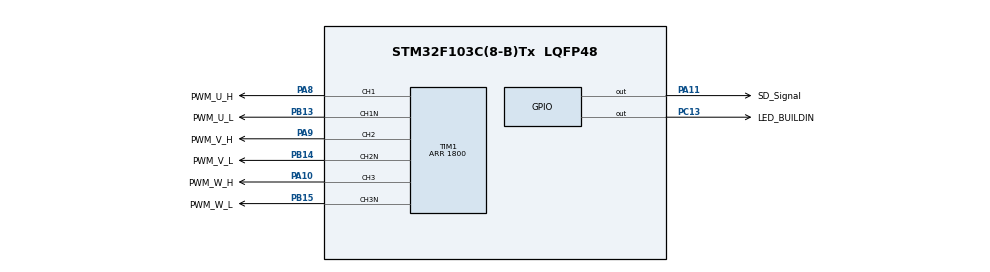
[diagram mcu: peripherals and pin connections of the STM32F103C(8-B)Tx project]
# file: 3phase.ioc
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Mcu.Family=STM32F1
Mcu.Name=STM32F103C(8-B)Tx
Mcu.Package=LQFP48
NVIC.PriorityGroup=NVIC_PRIORITYGROUP_4
NVIC.TIM1_UP_IRQn=true\:0\:0\:false\:false\:true\:true\:true\:true
PA10.GPIO_Label=PWM_W_H
PA10.GPIO_Speed=GPIO_SPEED_FREQ_HIGH
PA10.Signal=S_TIM1_CH3
PA11.GPIO_Label=SD_Signal
PA11.GPIO_Speed=GPIO_SPEED_FREQ_HIGH
PA11.Signal=GPIO_Output
PA13.Mode=Serial_Wire
PA13.Signal=SYS_JTMS-SWDIO
PA14.Mode=Serial_Wire
PA14.Signal=SYS_JTCK-SWCLK
PA8.GPIO_Label=PWM_U_H
PA8.GPIO_Speed=GPIO_SPEED_FREQ_HIGH
PA8.Signal=S_TIM1_CH1
PA9.GPIO_Label=PWM_V_H
PA9.GPIO_Speed=GPIO_SPEED_FREQ_HIGH
PA9.Signal=S_TIM1_CH2
PB13.GPIO_Label=PWM_U_L
PB13.GPIO_Speed=GPIO_SPEED_FREQ_HIGH
PB13.Mode=PWM Generation1 CH1 CH1N
PB13.Signal=TIM1_CH1N
PB14.GPIO_Label=PWM_V_L
PB14.GPIO_Speed=GPIO_SPEED_FREQ_HIGH
PB14.Mode=PWM Generation2 CH2 CH2N
PB14.Signal=TIM1_CH2N
PB15.GPIO_Label=PWM_W_L
PB15.GPIO_Speed=GPIO_SPEED_FREQ_HIGH
PB15.Mode=PWM Generation3 CH3 CH3N
PB15.Signal=TIM1_CH3N
PC13-TAMPER-RTC.GPIO_Label=LED_BUILDIN
PC13-TAMPER-RTC.PinState=GPIO_PIN_RESET
PC13-TAMPER-RTC.Signal=GPIO_Output
PD0-OSC_IN.Mode=HSE-External-Oscillator
PD0-OSC_IN.Signal=RCC_OSC_IN
PD1-OSC_OUT.Mode=HSE-External-Oscillator
PD1-OSC_OUT.Signal=RCC_OSC_OUT
ProjectManager.HeapSize=0x200
ProjectManager.StackSize=0x400
ProjectManager.TargetToolchain=STM32CubeIDE
RCC.AHBFreq_Value=72000000
RCC.APB1CLKDivider=RCC_HCLK_DIV2
RCC.APB1Freq_Value=36000000
RCC.APB1TimFreq_Value=72000000
RCC.APB2Freq_Value=72000000
RCC.APB2TimFreq_Value=72000000
RCC.HCLKFreq_Value=72000000
RCC.PLLMUL=RCC_PLL_MUL9
RCC.PLLSourceVirtual=RCC_PLLSOURCE_HSE
RCC.SYSCLKFreq_VALUE=72000000
RCC.SYSCLKSource=RCC_SYSCLKSOURCE_PLLCLK
RCC.USBFreq_Value=72000000
SH.S_TIM1_CH1.0=TIM1_CH1,PWM Generation1 CH1 CH1N
SH.S_TIM1_CH2.0=TIM1_CH2,PWM Generation2 CH2 CH2N
SH.S_TIM1_CH3.0=TIM1_CH3,PWM Generation3 CH3 CH3N
TIM1.AutoReloadPreload=TIM_AUTORELOAD_PRELOAD_ENABLE
TIM1.Channel-PWM\ Generation1\ CH1\ CH1N=TIM_CHANNEL_1
TIM1.Channel-PWM\ Generation2\ CH2\ CH2N=TIM_CHANNEL_2
TIM1.Channel-PWM\ Generation3\ CH3\ CH3N=TIM_CHANNEL_3
TIM1.CounterMode=TIM_COUNTERMODE_CENTERALIGNED1
TIM1.DeadTime=72
TIM1.Period=1800
TIM1.Pulse-PWM\ Generation1\ CH1\ CH1N=900
TIM1.Pulse-PWM\ Generation2\ CH2\ CH2N=900
TIM1.Pulse-PWM\ Generation3\ CH3\ CH3N=900
VP_TIM1_VS_ClockSourceINT.Mode=Internal
board=custom

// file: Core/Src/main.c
/* USER CODE BEGIN Header */

/**

******************************************************************************

* @file : main.c

* @brief : Main program body - SPWM 3 Phase (Chuẩn 20kHz Carrier / 50Hz Sine)

******************************************************************************

*/

/* USER CODE END Header */

#include "main.h"

/* USER CODE BEGIN Includes */

#include <math.h>

/* USER CODE END Includes */

TIM_HandleTypeDef htim1;

/* USER CODE BEGIN PV */

#define SINE_POINTS 400 // Số điểm băm (20kHz / 50Hz = 400)

#define ARR_VALUE 1800 // Period chuẩn để tạo ra 20kHz ở chế độ Center-Aligned (72MHz)

uint16_t sine_lookUp[SINE_POINTS];

uint16_t index_U = 0; // 0 độ

uint16_t index_V = 133; // 120 độ (~ 1/3 của 400)

uint16_t index_W = 266; // 240 độ (~ 2/3 của 400)

float modulation_index = 0.9; // Chỉ số điều chế (biên độ đỉnh, max = 1.0)

/* USER CODE END PV */

void SystemClock_Config(void);

static void MX_GPIO_Init(void);

static void MX_TIM1_Init(void);

int main(void)

{

HAL_Init();

SystemClock_Config();

MX_GPIO_Init();

MX_TIM1_Init();

/* USER CODE BEGIN 2 */

__HAL_TIM_SET_AUTORELOAD(&htim1, ARR_VALUE);

// tính mảng SPWM

for(int i = 0; i < SINE_POINTS; i++) {

float sin_val = (sin(2.0 * M_PI * i / SINE_POINTS) + 1.0) / 2.0;

sine_lookUp[i] = (uint16_t)(sin_val * ARR_VALUE * modulation_index); //a(0,1)*%pwm a

}

//Mở khóa Driver IR2110

HAL_GPIO_WritePin(SD_Signal_GPIO_Port, SD_Signal_Pin, GPIO_PIN_RESET);

// Kích hoạt xuất PWM cho cả 6 chân (Pha U, Pha V, Pha W)

HAL_TIM_PWM_Start(&htim1, TIM_CHANNEL_1);

HAL_TIMEx_PWMN_Start(&htim1, TIM_CHANNEL_1);

HAL_TIM_PWM_Start(&htim1, TIM_CHANNEL_2);

HAL_TIMEx_PWMN_Start(&htim1, TIM_CHANNEL_2);

HAL_TIM_PWM_Start(&htim1, TIM_CHANNEL_3);

HAL_TIMEx_PWMN_Start(&htim1, TIM_CHANNEL_3);

HAL_TIM_Base_Start_IT(&htim1);

/* USER CODE END 2 */

/* Infinite loop */

/* USER CODE BEGIN WHILE */

while (1)

{

//
HAL_GPIO_TogglePin(LED_BUILDIN_GPIO_Port, LED_BUILDIN_Pin);

HAL_Delay(2000);

/* USER CODE END WHILE */

}

}

void SystemClock_Config(void)

{

RCC_OscInitTypeDef RCC_OscInitStruct = {0};

RCC_ClkInitTypeDef RCC_ClkInitStruct = {0};

RCC_OscInitStruct.OscillatorType = RCC_OSCILLATORTYPE_HSE;

RCC_OscInitStruct.HSEState = RCC_HSE_ON;

RCC_OscInitStruct.HSEPredivValue = RCC_HSE_PREDIV_DIV1;

RCC_OscInitStruct.HSIState = RCC_HSI_ON;

RCC_OscInitStruct.PLL.PLLState = RCC_PLL_ON;

RCC_OscInitStruct.PLL.PLLSource = RCC_PLLSOURCE_HSE;

RCC_OscInitStruct.PLL.PLLMUL = RCC_PLL_MUL9;

if (HAL_RCC_OscConfig(&RCC_OscInitStruct) != HAL_OK)

{

Error_Handler();

}

RCC_ClkInitStruct.ClockType = RCC_CLOCKTYPE_HCLK|RCC_CLOCKTYPE_SYSCLK

|RCC_CLOCKTYPE_PCLK1|RCC_CLOCKTYPE_PCLK2;

RCC_ClkInitStruct.SYSCLKSource = RCC_SYSCLKSOURCE_PLLCLK;

RCC_ClkInitStruct.AHBCLKDivider = RCC_SYSCLK_DIV1;

RCC_ClkInitStruct.APB1CLKDivider = RCC_HCLK_DIV2;

RCC_ClkInitStruct.APB2CLKDivider = RCC_HCLK_DIV1;

if (HAL_RCC_ClockConfig(&RCC_ClkInitStruct, FLASH_LATENCY_2) != HAL_OK)

{

Error_Handler();

}

}

static void MX_TIM1_Init(void)

{

TIM_ClockConfigTypeDef sClockSourceConfig = {0};

TIM_MasterConfigTypeDef sMasterConfig = {0};

TIM_OC_InitTypeDef sConfigOC = {0};

TIM_BreakDeadTimeConfigTypeDef sBreakDeadTimeConfig = {0};

htim1.Instance = TIM1;

htim1.Init.Prescaler = 0;

htim1.Init.CounterMode = TIM_COUNTERMODE_CENTERALIGNED1;

htim1.Init.Period = 36000;

htim1.Init.ClockDivision = TIM_CLOCKDIVISION_DIV1;

htim1.Init.RepetitionCounter = 0;

htim1.Init.AutoReloadPreload = TIM_AUTORELOAD_PRELOAD_ENABLE;

if (HAL_TIM_Base_Init(&htim1) != HAL_OK)

	{

	Error_Handler();

	}

sClockSourceConfig.ClockSource = TIM_CLOCKSOURCE_INTERNAL;

if (HAL_TIM_ConfigClockSource(&htim1, &sClockSourceConfig) != HAL_OK)

	{

	Error_Handler();

	}

if (HAL_TIM_PWM_Init(&htim1) != HAL_OK)

	{

	Error_Handler();

	}

sMasterConfig.MasterOutputTrigger = TIM_TRGO_RESET;

sMasterConfig.MasterSlaveMode = TIM_MASTERSLAVEMODE_DISABLE;

if (HAL_TIMEx_MasterConfigSynchronization(&htim1, &sMasterConfig) != HAL_OK)

	{

	Error_Handler();

	}

sConfigOC.OCMode = TIM_OCMODE_PWM1;

sConfigOC.Pulse = 18000;

sConfigOC.OCPolarity = TIM_OCPOLARITY_HIGH;

sConfigOC.OCNPolarity = TIM_OCNPOLARITY_HIGH;

sConfigOC.OCFastMode = TIM_OCFAST_DISABLE;

sConfigOC.OCIdleState = TIM_OCIDLESTATE_RESET;

sConfigOC.OCNIdleState = TIM_OCNIDLESTATE_RESET;

if (HAL_TIM_PWM_ConfigChannel(&htim1, &sConfigOC, TIM_CHANNEL_1) != HAL_OK)

{

Error_Handler();

}

if (HAL_TIM_PWM_ConfigChannel(&htim1, &sConfigOC, TIM_CHANNEL_2) != HAL_OK)

{

Error_Handler();

}

if (HAL_TIM_PWM_ConfigChannel(&htim1, &sConfigOC, TIM_CHANNEL_3) != HAL_OK)

{

Error_Handler();

}

sBreakDeadTimeConfig.OffStateRunMode = TIM_OSSR_DISABLE;

sBreakDeadTimeConfig.OffStateIDLEMode = TIM_OSSI_DISABLE;

sBreakDeadTimeConfig.LockLevel = TIM_LOCKLEVEL_OFF;

sBreakDeadTimeConfig.DeadTime = 72;

sBreakDeadTimeConfig.BreakState = TIM_BREAK_DISABLE;

sBreakDeadTimeConfig.BreakPolarity = TIM_BREAKPOLARITY_HIGH;

sBreakDeadTimeConfig.AutomaticOutput = TIM_AUTOMATICOUTPUT_DISABLE;

if (HAL_TIMEx_ConfigBreakDeadTime(&htim1, &sBreakDeadTimeConfig) != HAL_OK)

{

Error_Handler();

}

HAL_TIM_MspPostInit(&htim1);

}

static void MX_GPIO_Init(void)

{

GPIO_InitTypeDef GPIO_InitStruct = {0};

/* GPIO Ports Clock Enable */

__HAL_RCC_GPIOC_CLK_ENABLE();

__HAL_RCC_GPIOD_CLK_ENABLE();

__HAL_RCC_GPIOB_CLK_ENABLE();

__HAL_RCC_GPIOA_CLK_ENABLE();

/*Configure GPIO pin Output Level */

HAL_GPIO_WritePin(LED_BUILDIN_GPIO_Port, LED_BUILDIN_Pin, GPIO_PIN_RESET);

HAL_GPIO_WritePin(SD_Signal_GPIO_Port, SD_Signal_Pin, GPIO_PIN_RESET);

/*Configure GPIO pin : LED_BUILDIN_Pin */

GPIO_InitStruct.Pin = LED_BUILDIN_Pin;

GPIO_InitStruct.Mode = GPIO_MODE_OUTPUT_PP;

GPIO_InitStruct.Pull = GPIO_NOPULL;

GPIO_InitStruct.Speed = GPIO_SPEED_FREQ_LOW;

HAL_GPIO_Init(LED_BUILDIN_GPIO_Port, &GPIO_InitStruct);

/*Configure GPIO pin : SD_Signal_Pin */

GPIO_InitStruct.Pin = SD_Signal_Pin;

GPIO_InitStruct.Mode = GPIO_MODE_OUTPUT_PP;

GPIO_InitStruct.Pull = GPIO_NOPULL;

GPIO_InitStruct.Speed = GPIO_SPEED_FREQ_HIGH;

HAL_GPIO_Init(SD_Signal_GPIO_Port, &GPIO_InitStruct);

}

/* USER CODE BEGIN 4 */

/**

*/

void HAL_TIM_PeriodElapsedCallback(TIM_HandleTypeDef *htim)

{

if (htim->Instance == TIM1)

{

//

__HAL_TIM_SET_COMPARE(&htim1, TIM_CHANNEL_1, sine_lookUp[index_U]);

__HAL_TIM_SET_COMPARE(&htim1, TIM_CHANNEL_2, sine_lookUp[index_V]);

__HAL_TIM_SET_COMPARE(&htim1, TIM_CHANNEL_3, sine_lookUp[index_W]);

//reset điểm hehehe

index_U++; if(index_U >= SINE_POINTS) index_U = 0;

index_V++; if(index_V >= SINE_POINTS) index_V = 0;

index_W++; if(index_W >= SINE_POINTS) index_W = 0;

}

}

/* USER CODE END 4 */

void Error_Handler(void)

	{

		__disable_irq();
		while (1)
		{
		}

	}
